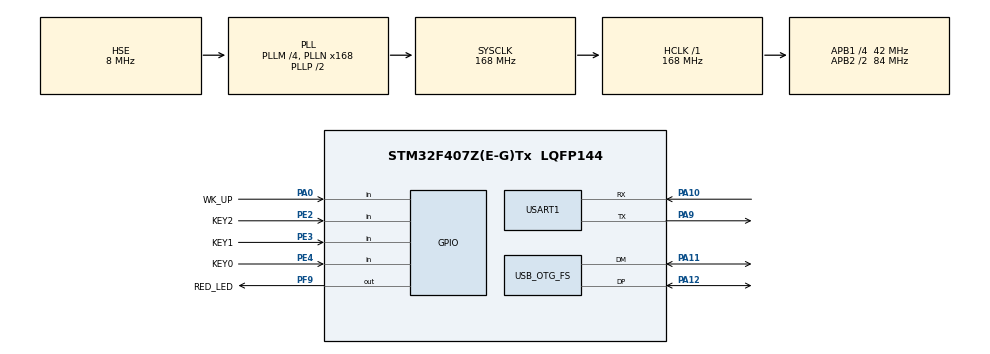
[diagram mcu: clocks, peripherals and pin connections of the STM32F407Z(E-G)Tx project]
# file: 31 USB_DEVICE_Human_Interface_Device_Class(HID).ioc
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Mcu.Family=STM32F4
Mcu.Name=STM32F407Z(E-G)Tx
Mcu.Package=LQFP144
NVIC.OTG_FS_IRQn=true\:0\:0\:false\:false\:true\:false\:true\:true
NVIC.PriorityGroup=NVIC_PRIORITYGROUP_4
NVIC.TIM6_DAC_IRQn=true\:1\:0\:true\:false\:true\:true\:true\:true
PA0-WKUP.GPIO_Label=WK_UP
PA0-WKUP.GPIO_PuPd=GPIO_PULLDOWN
PA0-WKUP.Signal=GPIO_Input
PA10.Mode=Asynchronous
PA10.Signal=USART1_RX
PA11.Mode=Device_Only
PA11.Signal=USB_OTG_FS_DM
PA12.Mode=Device_Only
PA12.Signal=USB_OTG_FS_DP
PA13.Mode=Serial_Wire
PA13.Signal=SYS_JTMS-SWDIO
PA14.Mode=Serial_Wire
PA14.Signal=SYS_JTCK-SWCLK
PA9.Mode=Asynchronous
PA9.Signal=USART1_TX
PC14-OSC32_IN.Mode=LSE-External-Oscillator
PC14-OSC32_IN.Signal=RCC_OSC32_IN
PC15-OSC32_OUT.Mode=LSE-External-Oscillator
PC15-OSC32_OUT.Signal=RCC_OSC32_OUT
PE2.GPIO_Label=KEY2
PE2.GPIO_PuPd=GPIO_PULLUP
PE2.Signal=GPIO_Input
PE3.GPIO_Label=KEY1
PE3.GPIO_PuPd=GPIO_PULLUP
PE3.Signal=GPIO_Input
PE4.GPIO_Label=KEY0
PE4.GPIO_PuPd=GPIO_PULLUP
PE4.Signal=GPIO_Input
PF9.GPIO_Label=RED_LED
PF9.Signal=GPIO_Output
PH0-OSC_IN.Mode=HSE-External-Oscillator
PH0-OSC_IN.Signal=RCC_OSC_IN
PH1-OSC_OUT.Mode=HSE-External-Oscillator
PH1-OSC_OUT.Signal=RCC_OSC_OUT
ProjectManager.HeapSize=0x200
ProjectManager.StackSize=0x400
ProjectManager.TargetToolchain=MDK-ARM V5.32
RCC.48MHZClocksFreq_Value=48000000
RCC.AHBFreq_Value=168000000
RCC.APB1CLKDivider=RCC_HCLK_DIV4
RCC.APB1Freq_Value=42000000
RCC.APB1TimFreq_Value=84000000
RCC.APB2CLKDivider=RCC_HCLK_DIV2
RCC.APB2Freq_Value=84000000
RCC.APB2TimFreq_Value=168000000
RCC.CortexFreq_Value=168000000
RCC.HCLKFreq_Value=168000000
RCC.HSE_VALUE=8000000
RCC.HSI_VALUE=16000000
RCC.PLLM=4
RCC.PLLN=168
RCC.PLLQ=7
RCC.SYSCLKFreq_VALUE=168000000
RCC.SYSCLKSource=RCC_SYSCLKSOURCE_PLLCLK
RCC.VCOOutputFreq_Value=336000000
TIM6.Period=9
TIM6.Prescaler=8399
USART1.VirtualMode=VM_ASYNC
USB_DEVICE.CLASS_NAME_FS=HID
USB_DEVICE.VirtualMode-HID_FS=Hid
USB_DEVICE.VirtualModeFS=Hid_FS
USB_OTG_FS.VirtualMode=Device_Only
VP_TIM6_VS_ClockSourceINT.Mode=Enable_Timer
VP_USB_DEVICE_VS_USB_DEVICE_HID_FS.Mode=HID_FS
board=custom

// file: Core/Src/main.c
/* USER CODE BEGIN Header */
/**
  ******************************************************************************
  * @file           : main.c
  * @brief          : Main program body
  ******************************************************************************
  * @attention
  *
  * Copyright (c) 2024 STMicroelectronics.
  * All rights reserved.
  *
  * This software is licensed under terms that can be found in the LICENSE file
  * in the root directory of this software component.
  * If no LICENSE file comes with this software, it is provided AS-IS.
  *
  ******************************************************************************
  */
/* USER CODE END Header */
#include "main.h"
#include "tim.h"
#include "usart.h"
#include "usb_device.h"
#include "gpio.h"

/* USER CODE BEGIN Includes */
#include "usbd_hid.h"
#include "stdio.h"
/* USER CODE END Includes */

/* USER CODE BEGIN PTD */
#ifdef __GNUC__
#define PUTCHAR_PROTOTYPE int __io_putchar(int ch)
#else
#define PUTCHAR_PROTOTYPE int fputc(int ch, FILE *f)
#endif
PUTCHAR_PROTOTYPE
{
    HAL_UART_Transmit(&huart1, (uint8_t *)&ch, 1, HAL_MAX_DELAY);
    return ch;
}
/* USER CODE END PTD */

/* USER CODE BEGIN PV */
extern USBD_HandleTypeDef hUsbDeviceFS;
#define CURSOR_STEP 7
uint8_t HID_Buffer[8];
/* USER CODE END PV */

void SystemClock_Config(void);

int main(void)
{

  /* MCU Configuration--------------------------------------------------------*/

  /* Reset of all peripherals, Initializes the Flash interface and the Systick. */
  HAL_Init();

  /* Configure the system clock */
  SystemClock_Config();

  /* Initialize all configured peripherals */
  MX_GPIO_Init();
  MX_USART1_UART_Init();
  MX_USB_DEVICE_Init();
  MX_TIM6_Init();
  /* USER CODE BEGIN 2 */
	HAL_TIM_Base_Start_IT(&htim6);
	printf("Reset\r\n");
  /* USER CODE END 2 */

  /* Infinite loop */
  while (1)
  {

  }
}

void SystemClock_Config(void)
{
  RCC_OscInitTypeDef RCC_OscInitStruct = {0};
  RCC_ClkInitTypeDef RCC_ClkInitStruct = {0};

  /** Configure the main internal regulator output voltage
  */
  __HAL_RCC_PWR_CLK_ENABLE();
  __HAL_PWR_VOLTAGESCALING_CONFIG(PWR_REGULATOR_VOLTAGE_SCALE1);

  /** Initializes the RCC Oscillators according to the specified parameters
  * in the RCC_OscInitTypeDef structure.
  */
  RCC_OscInitStruct.OscillatorType = RCC_OSCILLATORTYPE_HSE;
  RCC_OscInitStruct.HSEState = RCC_HSE_ON;
  RCC_OscInitStruct.PLL.PLLState = RCC_PLL_ON;
  RCC_OscInitStruct.PLL.PLLSource = RCC_PLLSOURCE_HSE;
  RCC_OscInitStruct.PLL.PLLM = 4;
  RCC_OscInitStruct.PLL.PLLN = 168;
  RCC_OscInitStruct.PLL.PLLP = RCC_PLLP_DIV2;
  RCC_OscInitStruct.PLL.PLLQ = 7;
  if (HAL_RCC_OscConfig(&RCC_OscInitStruct) != HAL_OK)
  {
    Error_Handler();
  }

  /** Initializes the CPU, AHB and APB buses clocks
  */
  RCC_ClkInitStruct.ClockType = RCC_CLOCKTYPE_HCLK|RCC_CLOCKTYPE_SYSCLK
                              |RCC_CLOCKTYPE_PCLK1|RCC_CLOCKTYPE_PCLK2;
  RCC_ClkInitStruct.SYSCLKSource = RCC_SYSCLKSOURCE_PLLCLK;
  RCC_ClkInitStruct.AHBCLKDivider = RCC_SYSCLK_DIV1;
  RCC_ClkInitStruct.APB1CLKDivider = RCC_HCLK_DIV4;
  RCC_ClkInitStruct.APB2CLKDivider = RCC_HCLK_DIV2;

  if (HAL_RCC_ClockConfig(&RCC_ClkInitStruct, FLASH_LATENCY_5) != HAL_OK)
  {
    Error_Handler();
  }
}

/* USER CODE BEGIN 4 */
/*设置鼠标指针坐标值*/
static void GetPointerData(uint8_t *pbuf)
{
  int8_t  x = 0, y = 0, button = 0, Wheel=0, keyboard=0;

	/*按键WK_UP被按下*/
	if(HAL_GPIO_ReadPin(WK_UP_GPIO_Port,WK_UP_Pin) == GPIO_PIN_SET)
	{
		if(HAL_GPIO_ReadPin(WK_UP_GPIO_Port,WK_UP_Pin) == GPIO_PIN_SET)
		{
			printf("WK_UP Pressed : a/A\r\n");
			keyboard = 0x04;
			while(HAL_GPIO_ReadPin(WK_UP_GPIO_Port,WK_UP_Pin));
		}
	}
	/*按键KEY2被按下*/
	if(HAL_GPIO_ReadPin(KEY2_GPIO_Port,KEY2_Pin) == GPIO_PIN_RESET)
	{
		if(HAL_GPIO_ReadPin(KEY2_GPIO_Port,KEY2_Pin) == GPIO_PIN_RESET)
		{
			printf("KEY2 Pressed : x/X\r\n");
			keyboard = 0x1B;
			while(!HAL_GPIO_ReadPin(KEY2_GPIO_Port,KEY2_Pin));
		}
	}
	/*按键KEY1被按下*/
	if(HAL_GPIO_ReadPin(KEY1_GPIO_Port,KEY1_Pin) == GPIO_PIN_RESET)
	{
		if(HAL_GPIO_ReadPin(KEY1_GPIO_Port,KEY1_Pin) == GPIO_PIN_RESET)
		{
			printf("KEY1 Pressed : y/Y\r\n");
			keyboard = 0x1C;
			while(!HAL_GPIO_ReadPin(KEY1_GPIO_Port,KEY1_Pin));
		}
	}
	/*按键KEY0被按下*/
	if(HAL_GPIO_ReadPin(KEY0_GPIO_Port,KEY0_Pin) == GPIO_PIN_RESET)
	{
		if(HAL_GPIO_ReadPin(KEY0_GPIO_Port,KEY0_Pin) == GPIO_PIN_RESET)
		{
			printf("KEY0 Pressed : z/Z\r\n");
			keyboard = 0x1D;
			while(!HAL_GPIO_ReadPin(KEY0_GPIO_Port,KEY0_Pin));
		}
	}

	for(uint8_t i=0;i<8;i++)
	{
		if(i == 2) pbuf[i] = keyboard;
		else pbuf[i] = 0;
	}
}

/*TIM6定时器1ms回调函数*/
void HAL_TIM_PeriodElapsedCallback(TIM_HandleTypeDef *htim)
{
	static __IO uint32_t counter = 0;

	/* check Joystick state every polling interval (10ms) */
	if(counter++ == USBD_HID_GetPollingInterval(&hUsbDeviceFS))
	{
		GetPointerData(HID_Buffer);

		/* send data though IN endpoint*/
		USBD_HID_SendReport(&hUsbDeviceFS, HID_Buffer, sizeof(HID_Buffer));

		/* 重置counter */
		counter = 0;
	}
}

/* USER CODE END 4 */

void Error_Handler(void)
{
  __disable_irq();
  while (1)
  {
  }
}
